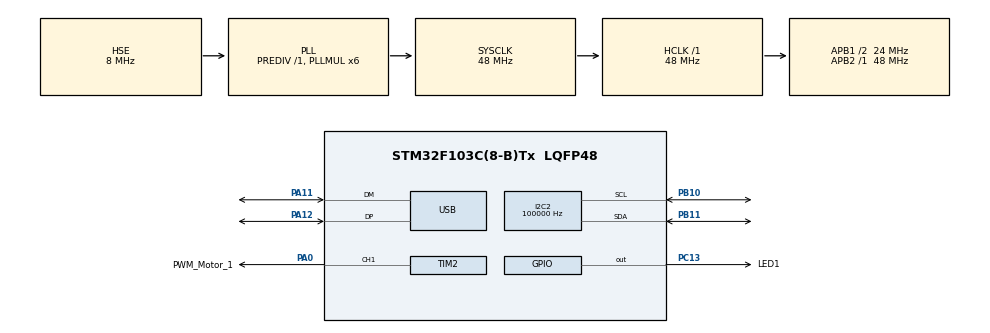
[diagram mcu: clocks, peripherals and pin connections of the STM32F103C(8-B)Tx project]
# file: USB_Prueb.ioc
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I2C2.ClockSpeed=100000
I2C2.I2C_Mode=I2C_Standard
Mcu.Family=STM32F1
Mcu.Name=STM32F103C(8-B)Tx
Mcu.Package=LQFP48
NVIC.PriorityGroup=NVIC_PRIORITYGROUP_4
NVIC.RCC_IRQn=true\:0\:0\:false\:false\:true\:true\:false
NVIC.TIM2_IRQn=true\:0\:0\:false\:false\:true\:true\:true
NVIC.TIM4_IRQn=true\:0\:0\:false\:false\:true\:true\:true
NVIC.USB_LP_CAN1_RX0_IRQn=true\:0\:0\:false\:true\:true\:1\:false\:true
PA0-WKUP.GPIO_Label=PWM_Motor_1
PA0-WKUP.Signal=S_TIM2_CH1_ETR
PA11.Mode=Device
PA11.Signal=USB_DM
PA12.Mode=Device
PA12.Signal=USB_DP
PA13.Mode=Serial_Wire
PA13.Signal=SYS_JTMS-SWDIO
PA14.Mode=Serial_Wire
PA14.Signal=SYS_JTCK-SWCLK
PB10.Mode=I2C
PB10.Signal=I2C2_SCL
PB11.Mode=I2C
PB11.Signal=I2C2_SDA
PC13-TAMPER-RTC.GPIO_Label=LED1
PC13-TAMPER-RTC.PinState=GPIO_PIN_SET
PC13-TAMPER-RTC.Signal=GPIO_Output
PD0-OSC_IN.Mode=HSE-External-Oscillator
PD0-OSC_IN.Signal=RCC_OSC_IN
PD1-OSC_OUT.Mode=HSE-External-Oscillator
PD1-OSC_OUT.Signal=RCC_OSC_OUT
ProjectManager.HeapSize=0x200
ProjectManager.StackSize=0x400
ProjectManager.TargetToolchain=STM32CubeIDE
RCC.AHBFreq_Value=48000000
RCC.APB1CLKDivider=RCC_HCLK_DIV2
RCC.APB1Freq_Value=24000000
RCC.APB1TimFreq_Value=48000000
RCC.APB2Freq_Value=48000000
RCC.APB2TimFreq_Value=48000000
RCC.HCLKFreq_Value=48000000
RCC.PLLMUL=RCC_PLL_MUL6
RCC.SYSCLKFreq_VALUE=48000000
RCC.SYSCLKSource=RCC_SYSCLKSOURCE_PLLCLK
RCC.USBFreq_Value=48000000
SH.S_TIM2_CH1_ETR.0=TIM2_CH1,PWM Generation1 CH1
TIM2.AutoReloadPreload=TIM_AUTORELOAD_PRELOAD_ENABLE
TIM2.Channel-PWM\ Generation1\ CH1=TIM_CHANNEL_1
TIM2.Period=20000
TIM2.Prescaler=48
TIM2.Pulse-PWM\ Generation1\ CH1=900
TIM4.AutoReloadPreload=TIM_AUTORELOAD_PRELOAD_ENABLE
TIM4.Period=30000
TIM4.Prescaler=48
USB_DEVICE.CLASS_NAME_FS=CDC
USB_DEVICE.VirtualMode=Cdc
USB_DEVICE.VirtualModeFS=Cdc_FS
VP_TIM2_VS_ClockSourceINT.Mode=Internal
VP_TIM3_VS_ClockSourceINT.Mode=Internal
VP_TIM4_VS_ClockSourceINT.Mode=Internal
VP_USB_DEVICE_VS_USB_DEVICE_CDC_FS.Mode=CDC_FS
board=custom

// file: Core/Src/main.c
/* USER CODE BEGIN Header */
/**
  ******************************************************************************
  * @file           : main.c
  * @brief          : Main program body
  ******************************************************************************
  * @attention
  *
  * <h2><center>&copy; Copyright (c) 2020 STMicroelectronics.
  * All rights reserved.</center></h2>
  *
  * This software component is licensed by ST under BSD 3-Clause license,
  * the "License"; You may not use this file except in compliance with the
  * License. You may obtain a copy of the License at:
  *                        opensource.org/licenses/BSD-3-Clause
  *
  ******************************************************************************
  */
/* USER CODE END Header */

#include "main.h"
#include "usb_device.h"

/* USER CODE BEGIN Includes */
#include <stdio.h>
#include "stdint.h"
/* USER CODE END Includes */

/* USER CODE BEGIN PD */
#define GP2Y0E          0x40//default
#define SHIFT_BYTE      0x02 //64 cm shift = 2 128 cm shift = 1
#define SHIFT_ADDR      0x35
#define DISTANCE_ADDR1  0x5E
#define DISTANCE_ADDR2  0x5F
#define RIGHT_EDGE_ADDR 0xF8 // C
#define LEFT_EDGE_ADDR  0xF9 // A
#define PEAK_EDGE_ADDR  0xFA // B
#define ADDR_DIS_1 		0x70
#define ADDR_DIS_2 		0x10
#define ADDR_DIS_3 		0x30
#define ADDR_DIS_4 		0x30
#define ADDR_MPU		0x68
#define ACCEL_XOUT_H 	0x3B
/* USER CODE END PD */

I2C_HandleTypeDef hi2c2;

TIM_HandleTypeDef htim2;
TIM_HandleTypeDef htim3;
TIM_HandleTypeDef htim4;

/* USER CODE BEGIN PV */
const int motor_1_max=2150;//constante para la maxima posición del servomotor
const int motor_1_min=350;//constante para la minima posición del servomotor

char CDC_tx_buff[60];//El buffer para enviar los datos por usb
uint8_t CDC_tx_size;//tamaño de buffer
char CDC_rx_flag;//Variable que se modifica en el archivo  usbd_cdc_if.c
extern uint8_t CDC_Transmit_FS(uint8_t* Buf, uint16_t Len);//Función que se usa para enviar por usbd_cdc_if.c
u_int16_t motor_1=900;//variable de posición del motor
uint8_t datai2c[2];
uint8_t data_tx_i2c;
uint8_t distance_cm;
unsigned char distance_cm;
uint8_t data;
uint8_t i=1;
int result;
/* USER CODE END PV */

void SystemClock_Config(void);
static void MX_GPIO_Init(void);
static void MX_TIM2_Init(void);
static void MX_TIM3_Init(void);
static void MX_TIM4_Init(void);
static void MX_I2C2_Init(void);
static void MX_NVIC_Init(void);

/* USER CODE BEGIN 0 */

//Función donde llega la interrupción por Timer
/*
void HAL_TIM_PeriodElapsedCallback(TIM_HandleTypeDef *htim){
	if(htim->Instance==TIM4){
		//HAL_GPIO_TogglePin(LED1_GPIO_Port, LED1_Pin);
	}
}
*/

void readDistance(uint8_t adress_i2c){
	result = HAL_I2C_IsDeviceReady(&hi2c2,adress_i2c<<1,1,1);
	if (result!= HAL_OK){
		CDC_tx_size=sprintf(CDC_tx_buff,"No responde Sensor %x:\n\r",adress_i2c);
		CDC_Transmit_FS((uint8_t *)&CDC_tx_buff,CDC_tx_size);//Transmite por USB
	}else{
		data_tx_i2c=DISTANCE_ADDR1;
		HAL_I2C_Master_Transmit(&hi2c2,adress_i2c<<1, &data_tx_i2c, 1, 5000);
		HAL_I2C_Master_Receive(&hi2c2,adress_i2c<<1,&datai2c[0], 1, 5000);
		data_tx_i2c=DISTANCE_ADDR2;
		HAL_I2C_Master_Transmit(&hi2c2,adress_i2c<<1, &data_tx_i2c, 1, 5000);
		HAL_I2C_Master_Receive(&hi2c2,adress_i2c<<1,&datai2c[1], 1, 5000);
		distance_cm = (datai2c[0]*16+datai2c[1])/64;//calculo de distancia
		CDC_tx_size=sprintf(CDC_tx_buff,"Distancia Sensor %x: %i\n\r",adress_i2c,distance_cm);//Guarda en la variable CDC_tx_buff el string y el tamaño del string queda en CDC_size_buff
		CDC_Transmit_FS((uint8_t *)&CDC_tx_buff,CDC_tx_size);//Transmite por USB
	}
}

void readSHIFT(uint8_t adress_i2c){
	result=HAL_I2C_Mem_Read(&hi2c2,adress_i2c<<1,SHIFT_ADDR,I2C_MEMADD_SIZE_8BIT,&data,1,5000);
	if(result!=HAL_OK){
		CDC_tx_size=sprintf(CDC_tx_buff,"No responde Sensor %x:\n\r",adress_i2c);
		CDC_Transmit_FS((uint8_t *)&CDC_tx_buff,CDC_tx_size);//Transmite por USB
	}else{
		CDC_tx_size=sprintf(CDC_tx_buff,"Shift Memoria %X\n\r",data);//Guarda en la variable CDC_tx_buff el string y el tamaño del string queda en CDC_size_buff
		CDC_Transmit_FS((uint8_t *)&CDC_tx_buff,CDC_tx_size);//Transmite por USB
	}
}

void scanner_I2C(){
  	CDC_tx_size=sprintf(CDC_tx_buff,"Escaneando:\r\n");//Guarda en la variable CDC_tx_buff el string y el tamaño del string queda en CDC_size_buff
  	CDC_Transmit_FS((uint8_t *)&CDC_tx_buff,CDC_tx_size);//Transmite por USB
	for (i=1; i<128; i++)
		  	{
		  		int result = HAL_I2C_IsDeviceReady(&hi2c2,i<<1,1,1);
		  		if (result != HAL_OK) // HAL_ERROR or HAL_BUSY or HAL_TIMEOUT
		  		{
		  		}else{
		  			CDC_tx_size=sprintf(CDC_tx_buff,"\r\n");//Guarda en la variable CDC_tx_buff el string y el tamaño del string queda en CDC_size_buff
		  			CDC_Transmit_FS((uint8_t *)&CDC_tx_buff,CDC_tx_size);//Transmite por USB
		  			CDC_tx_size=sprintf(CDC_tx_buff,"0x%X", i);//Guarda en la variable CDC_tx_buff el string y el tamaño del string queda en CDC_size_buff
		  			CDC_Transmit_FS((uint8_t *)CDC_tx_buff,CDC_tx_size);//Transmite por USB
		  		}
		  	}
}

/* USER CODE END 0 */

int main(void)
{

  /* MCU Configuration--------------------------------------------------------*/

  /* Reset of all peripherals, Initializes the Flash interface and the Systick. */
  HAL_Init();

  /* Configure the system clock */
  SystemClock_Config();

  /* Initialize all configured peripherals */
  MX_GPIO_Init();
  MX_USB_DEVICE_Init();
  MX_TIM2_Init();
  MX_TIM3_Init();
  MX_TIM4_Init();
  MX_I2C2_Init();

  /* Initialize interrupts */
  MX_NVIC_Init();
  /* USER CODE BEGIN 2 */
  //HAL_TIM_Base_Start_IT(&htim2); //Habilita interrupción al final de la cuenta definido en sConfigOC.Pulse = 1000;
  //HAL_TIM_Base_Start_IT(&htim4); //Habilita interrupción al final de la cuenta definido en
  //HAL_TIM_PWM_Start(&htim2, TIM_CHANNEL_1);//Habilita PWM

  /* USER CODE END 2 */

  /* Infinite loop */
  /* USER CODE BEGIN WHILE */
  while (1)
  {
		HAL_Delay(100);
		scanner_I2C();
	  	CDC_tx_size=sprintf(CDC_tx_buff,"Inciando:\r\n");//Guarda en la variable CDC_tx_buff el string y el tamaño del string queda en CDC_size_buff
	  	CDC_Transmit_FS((uint8_t *)&CDC_tx_buff,CDC_tx_size);//Transmite por USB

	  	readDistance(ADDR_DIS_1);
	  	readSHIFT(ADDR_DIS_1);

	  	readDistance(ADDR_DIS_2);
	  	readSHIFT(ADDR_DIS_2);
		//MPU
		result=HAL_I2C_IsDeviceReady(&hi2c2,ADDR_MPU<<1,1,1);
		if (result != HAL_OK) // HAL_ERROR or HAL_BUSY or HAL_TIMEOUT
		{
			CDC_tx_size=sprintf(CDC_tx_buff,"MPU no responde\r\n");//Guarda en la variable CDC_tx_buff el string y el tamaño del string queda en CDC_size_buff
			CDC_Transmit_FS((uint8_t *)&CDC_tx_buff,CDC_tx_size);//Transmite por USB
		}else{
			data_tx_i2c=ACCEL_XOUT_H;
			HAL_I2C_Master_Transmit(&hi2c2,ADDR_MPU<<1,&data_tx_i2c, 1, 5000);
			HAL_I2C_Master_Receive(&hi2c2,ADDR_MPU<<1,&datai2c[0], 1, 5000);
			CDC_tx_size=sprintf(CDC_tx_buff,"mpu %X\n\r",datai2c[0]);//Guarda en la variable CDC_tx_buff el string y el tamaño del string queda en CDC_size_buff
			CDC_Transmit_FS((uint8_t *)&CDC_tx_buff,CDC_tx_size);//Transmite por USB
		}

    /* USER CODE END WHILE */

  }

}

void SystemClock_Config(void)
{
  RCC_OscInitTypeDef RCC_OscInitStruct = {0};
  RCC_ClkInitTypeDef RCC_ClkInitStruct = {0};
  RCC_PeriphCLKInitTypeDef PeriphClkInit = {0};

  /** Initializes the CPU, AHB and APB busses clocks
  */
  RCC_OscInitStruct.OscillatorType = RCC_OSCILLATORTYPE_HSE;
  RCC_OscInitStruct.HSEState = RCC_HSE_ON;
  RCC_OscInitStruct.HSEPredivValue = RCC_HSE_PREDIV_DIV1;
  RCC_OscInitStruct.HSIState = RCC_HSI_ON;
  RCC_OscInitStruct.PLL.PLLState = RCC_PLL_ON;
  RCC_OscInitStruct.PLL.PLLSource = RCC_PLLSOURCE_HSE;
  RCC_OscInitStruct.PLL.PLLMUL = RCC_PLL_MUL6;
  if (HAL_RCC_OscConfig(&RCC_OscInitStruct) != HAL_OK)
  {
    Error_Handler();
  }
  /** Initializes the CPU, AHB and APB busses clocks
  */
  RCC_ClkInitStruct.ClockType = RCC_CLOCKTYPE_HCLK|RCC_CLOCKTYPE_SYSCLK
                              |RCC_CLOCKTYPE_PCLK1|RCC_CLOCKTYPE_PCLK2;
  RCC_ClkInitStruct.SYSCLKSource = RCC_SYSCLKSOURCE_PLLCLK;
  RCC_ClkInitStruct.AHBCLKDivider = RCC_SYSCLK_DIV1;
  RCC_ClkInitStruct.APB1CLKDivider = RCC_HCLK_DIV2;
  RCC_ClkInitStruct.APB2CLKDivider = RCC_HCLK_DIV1;

  if (HAL_RCC_ClockConfig(&RCC_ClkInitStruct, FLASH_LATENCY_1) != HAL_OK)
  {
    Error_Handler();
  }
  PeriphClkInit.PeriphClockSelection = RCC_PERIPHCLK_USB;
  PeriphClkInit.UsbClockSelection = RCC_USBCLKSOURCE_PLL;
  if (HAL_RCCEx_PeriphCLKConfig(&PeriphClkInit) != HAL_OK)
  {
    Error_Handler();
  }
}

/**
  * @brief NVIC Configuration.
  * @retval None
  */
static void MX_NVIC_Init(void)
{
  /* USB_LP_CAN1_RX0_IRQn interrupt configuration */
  HAL_NVIC_SetPriority(USB_LP_CAN1_RX0_IRQn, 0, 0);
  HAL_NVIC_EnableIRQ(USB_LP_CAN1_RX0_IRQn);
}

static void MX_I2C2_Init(void)
{

  hi2c2.Instance = I2C2;
  hi2c2.Init.ClockSpeed = 100000;
  hi2c2.Init.DutyCycle = I2C_DUTYCYCLE_2;
  hi2c2.Init.OwnAddress1 = 0;
  hi2c2.Init.AddressingMode = I2C_ADDRESSINGMODE_7BIT;
  hi2c2.Init.DualAddressMode = I2C_DUALADDRESS_DISABLE;
  hi2c2.Init.OwnAddress2 = 0;
  hi2c2.Init.GeneralCallMode = I2C_GENERALCALL_DISABLE;
  hi2c2.Init.NoStretchMode = I2C_NOSTRETCH_DISABLE;
  if (HAL_I2C_Init(&hi2c2) != HAL_OK)
  {
    Error_Handler();
  }

}

static void MX_TIM2_Init(void)
{

  TIM_ClockConfigTypeDef sClockSourceConfig = {0};
  TIM_MasterConfigTypeDef sMasterConfig = {0};
  TIM_OC_InitTypeDef sConfigOC = {0};

  htim2.Instance = TIM2;
  htim2.Init.Prescaler = 48;
  htim2.Init.CounterMode = TIM_COUNTERMODE_UP;
  htim2.Init.Period = 20000;
  htim2.Init.ClockDivision = TIM_CLOCKDIVISION_DIV1;
  htim2.Init.AutoReloadPreload = TIM_AUTORELOAD_PRELOAD_ENABLE;
  if (HAL_TIM_Base_Init(&htim2) != HAL_OK)
  {
    Error_Handler();
  }
  sClockSourceConfig.ClockSource = TIM_CLOCKSOURCE_INTERNAL;
  if (HAL_TIM_ConfigClockSource(&htim2, &sClockSourceConfig) != HAL_OK)
  {
    Error_Handler();
  }
  if (HAL_TIM_PWM_Init(&htim2) != HAL_OK)
  {
    Error_Handler();
  }
  sMasterConfig.MasterOutputTrigger = TIM_TRGO_RESET;
  sMasterConfig.MasterSlaveMode = TIM_MASTERSLAVEMODE_DISABLE;
  if (HAL_TIMEx_MasterConfigSynchronization(&htim2, &sMasterConfig) != HAL_OK)
  {
    Error_Handler();
  }
  sConfigOC.OCMode = TIM_OCMODE_PWM1;
  sConfigOC.Pulse = 900;
  sConfigOC.OCPolarity = TIM_OCPOLARITY_HIGH;
  sConfigOC.OCFastMode = TIM_OCFAST_DISABLE;
  if (HAL_TIM_PWM_ConfigChannel(&htim2, &sConfigOC, TIM_CHANNEL_1) != HAL_OK)
  {
    Error_Handler();
  }
  HAL_TIM_MspPostInit(&htim2);

}

static void MX_TIM3_Init(void)
{

  TIM_ClockConfigTypeDef sClockSourceConfig = {0};
  TIM_MasterConfigTypeDef sMasterConfig = {0};

  htim3.Instance = TIM3;
  htim3.Init.Prescaler = 0;
  htim3.Init.CounterMode = TIM_COUNTERMODE_UP;
  htim3.Init.Period = 0;
  htim3.Init.ClockDivision = TIM_CLOCKDIVISION_DIV1;
  htim3.Init.AutoReloadPreload = TIM_AUTORELOAD_PRELOAD_DISABLE;
  if (HAL_TIM_Base_Init(&htim3) != HAL_OK)
  {
    Error_Handler();
  }
  sClockSourceConfig.ClockSource = TIM_CLOCKSOURCE_INTERNAL;
  if (HAL_TIM_ConfigClockSource(&htim3, &sClockSourceConfig) != HAL_OK)
  {
    Error_Handler();
  }
  sMasterConfig.MasterOutputTrigger = TIM_TRGO_RESET;
  sMasterConfig.MasterSlaveMode = TIM_MASTERSLAVEMODE_DISABLE;
  if (HAL_TIMEx_MasterConfigSynchronization(&htim3, &sMasterConfig) != HAL_OK)
  {
    Error_Handler();
  }

}

static void MX_TIM4_Init(void)
{

  TIM_ClockConfigTypeDef sClockSourceConfig = {0};
  TIM_MasterConfigTypeDef sMasterConfig = {0};

  htim4.Instance = TIM4;
  htim4.Init.Prescaler = 48;
  htim4.Init.CounterMode = TIM_COUNTERMODE_UP;
  htim4.Init.Period = 30000;
  htim4.Init.ClockDivision = TIM_CLOCKDIVISION_DIV1;
  htim4.Init.AutoReloadPreload = TIM_AUTORELOAD_PRELOAD_ENABLE;
  if (HAL_TIM_Base_Init(&htim4) != HAL_OK)
  {
    Error_Handler();
  }
  sClockSourceConfig.ClockSource = TIM_CLOCKSOURCE_INTERNAL;
  if (HAL_TIM_ConfigClockSource(&htim4, &sClockSourceConfig) != HAL_OK)
  {
    Error_Handler();
  }
  sMasterConfig.MasterOutputTrigger = TIM_TRGO_RESET;
  sMasterConfig.MasterSlaveMode = TIM_MASTERSLAVEMODE_DISABLE;
  if (HAL_TIMEx_MasterConfigSynchronization(&htim4, &sMasterConfig) != HAL_OK)
  {
    Error_Handler();
  }

}

static void MX_GPIO_Init(void)
{
  GPIO_InitTypeDef GPIO_InitStruct = {0};

  /* GPIO Ports Clock Enable */
  __HAL_RCC_GPIOC_CLK_ENABLE();
  __HAL_RCC_GPIOD_CLK_ENABLE();
  __HAL_RCC_GPIOA_CLK_ENABLE();
  __HAL_RCC_GPIOB_CLK_ENABLE();

  /*Configure GPIO pin Output Level */
  HAL_GPIO_WritePin(LED1_GPIO_Port, LED1_Pin, GPIO_PIN_SET);

  /*Configure GPIO pin : LED1_Pin */
  GPIO_InitStruct.Pin = LED1_Pin;
  GPIO_InitStruct.Mode = GPIO_MODE_OUTPUT_PP;
  GPIO_InitStruct.Pull = GPIO_NOPULL;
  GPIO_InitStruct.Speed = GPIO_SPEED_FREQ_LOW;
  HAL_GPIO_Init(LED1_GPIO_Port, &GPIO_InitStruct);

}

void Error_Handler(void)
{
}

/************************ (C) COPYRIGHT STMicroelectronics *****END OF FILE****/
